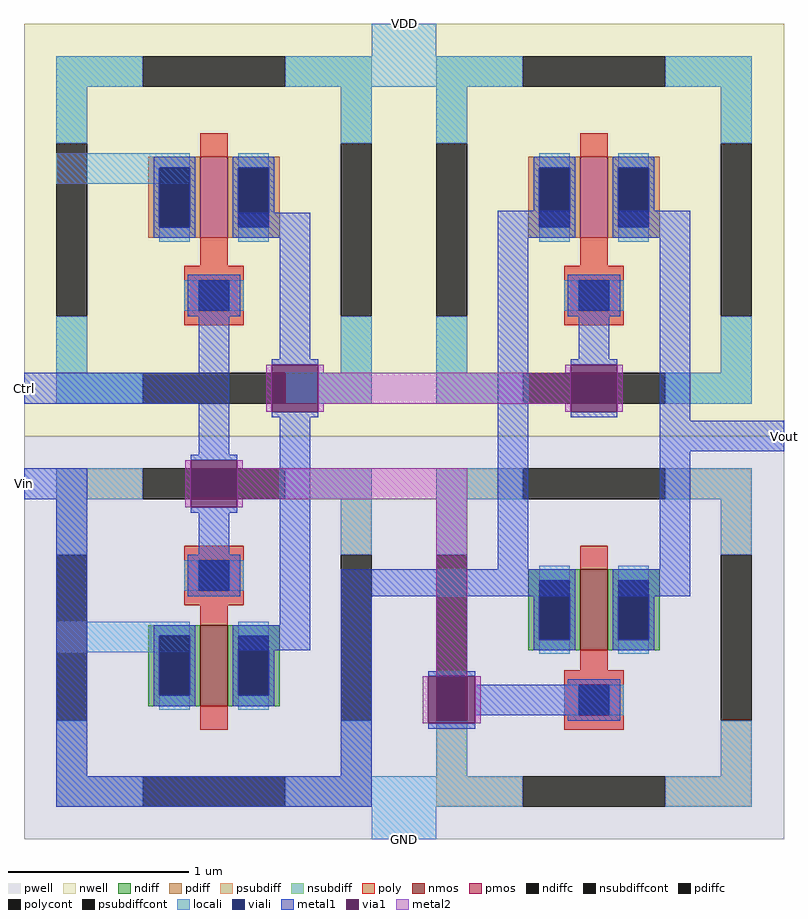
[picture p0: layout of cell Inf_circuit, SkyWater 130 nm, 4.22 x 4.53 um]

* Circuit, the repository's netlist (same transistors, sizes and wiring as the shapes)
** sch_path: /home/ricardo/RATT_repos/Proyectos_xschem/SNN/Inf_circuit.sch
**.subckt Inf_circuit GND VDD Vout Ctrl Vin
*.iopin GND
*.iopin VDD
*.opin Vout
*.ipin Ctrl
*.ipin Vin
XM1 Vout net1 Vin VDD sky130_fd_pr__pfet_01v8 L=0.15 W=0.45 nf=1 ad='int((nf+1)/2) * W/nf * 0.29' as='int((nf+2)/2) * W/nf * 0.29'
+ pd='2*int((nf+1)/2) * (W/nf + 0.29)' ps='2*int((nf+2)/2) * (W/nf + 0.29)' nrd='0.29 / W' nrs='0.29 / W'
+ sa=0 sb=0 sd=0 mult=1 m=1
XM2 Vin Ctrl Vout GND sky130_fd_pr__nfet_01v8 L=0.15 W=0.45 nf=1 ad='int((nf+1)/2) * W/nf * 0.29' as='int((nf+2)/2) * W/nf * 0.29'
+ pd='2*int((nf+1)/2) * (W/nf + 0.29)' ps='2*int((nf+2)/2) * (W/nf + 0.29)' nrd='0.29 / W' nrs='0.29 / W'
+ sa=0 sb=0 sd=0 mult=1 m=1
XM3 net1 Ctrl VDD VDD sky130_fd_pr__pfet_01v8 L=0.15 W=0.45 nf=1 ad='int((nf+1)/2) * W/nf * 0.29' as='int((nf+2)/2) * W/nf * 0.29'
+ pd='2*int((nf+1)/2) * (W/nf + 0.29)' ps='2*int((nf+2)/2) * (W/nf + 0.29)' nrd='0.29 / W' nrs='0.29 / W'
+ sa=0 sb=0 sd=0 mult=1 m=1
XM4 net1 Ctrl GND GND sky130_fd_pr__nfet_01v8 L=0.15 W=0.45 nf=1 ad='int((nf+1)/2) * W/nf * 0.29' as='int((nf+2)/2) * W/nf * 0.29'
+ pd='2*int((nf+1)/2) * (W/nf + 0.29)' ps='2*int((nf+2)/2) * (W/nf + 0.29)' nrd='0.29 / W' nrs='0.29 / W'
+ sa=0 sb=0 sd=0 mult=1 m=1
**.ends
.end

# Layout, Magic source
magic
tech sky130A
magscale 1 2
<< locali >>
rect 134 1178 206 1248
rect -216 1070 -68 1104
rect -216 550 -68 584
rect 134 342 206 412
<< metal1 >>
rect -14 1010 66 1038
rect -58 860 -24 963
rect 32 875 66 1010
rect 274 1010 354 1040
rect 408 1010 488 1040
rect -252 826 -24 860
rect -58 769 -24 826
rect 23 869 75 875
rect 23 811 75 817
rect -67 763 -15 769
rect -252 720 -182 754
rect -216 412 -182 720
rect -67 705 -15 711
rect -58 618 -24 705
rect 32 580 66 811
rect 274 642 308 1010
rect 364 875 398 963
rect 355 869 407 875
rect 355 811 407 817
rect 454 807 488 1010
rect 454 773 592 807
rect 454 642 488 773
rect -14 552 66 580
rect 100 612 354 642
rect 408 612 488 642
rect 100 412 134 612
rect 197 523 249 529
rect 249 480 398 514
rect 197 465 249 471
rect -216 378 134 412
<< via1 >>
rect 23 817 75 869
rect -67 711 -15 763
rect 355 817 407 869
rect 197 471 249 523
<< metal2 >>
rect 17 817 23 869
rect 75 860 81 869
rect 349 860 355 869
rect 75 826 355 860
rect 75 817 81 826
rect 349 817 355 826
rect 407 817 413 869
rect -73 711 -67 763
rect -15 754 -9 763
rect -15 720 240 754
rect -15 711 -9 720
rect 206 523 240 720
rect 191 471 197 523
rect 249 471 255 523
use sky130_fd_pr__pfet_01v8_2779BZ  XM1
transform 1 0 -41 0 1 1019
box -211 -229 211 229
use sky130_fd_pr__nfet_01v8_DR7ETE  XM2
transform 1 0 -41 0 1 566
box -211 -224 211 224
use sky130_fd_pr__pfet_01v8_2779BZ  XM3
transform 1 0 381 0 1 1019
box -211 -229 211 229
use sky130_fd_pr__nfet_01v8_HVESAE  XM4
transform 1 0 381 0 1 566
box -211 -224 211 224
<< labels >>
flabel locali s 134 1248 206 1248 0 FreeSans 480 0 0 0 VDD
port 12 nsew
flabel locali s 134 342 206 342 0 FreeSans 480 0 0 0 GND
port 13 nsew
flabel metal1 s 592 773 592 807 0 FreeSans 480 0 0 0 Vout
port 14 nsew
flabel metal1 s -252 720 -252 754 0 FreeSans 480 0 0 0 Vin
port 15 nsew
flabel metal1 s -252 826 -252 860 0 FreeSans 480 0 0 0 Ctrl
port 16 nsew
<< end >>

# cell sky130_fd_pr__pfet_01v8_2779BZ: kit device sky130_fd_pr__pfet_01v8, w 0.45 l 0.15 m 1 nf 1 diffcov 100 polycov 100 guard 1 glc 1 grc 1 gtc 1 gbc 1 tbcov 100 rlcov 100 topc 0 botc 1 poverlap 0 doverlap 1 lmin 0.15 wmin 0.42 compatible {sky130_fd_pr__pfet_01v8 sky130_fd_pr__pfet_01v8_lvt sky130_fd_pr__pfet_01v8_hvt sky130_fd_pr__pfet_g5v0d10v5} full_metal 1 viasrc 100 viadrn 100 viagate 100 viagb 0 viagr 0 viagl 0 viagt 0

# cell sky130_fd_pr__nfet_01v8_DR7ETE: kit device sky130_fd_pr__nfet_01v8, w 0.45 l 0.15 m 1 nf 1 diffcov 100 polycov 100 guard 1 glc 1 grc 1 gtc 1 gbc 1 tbcov 100 rlcov 100 topc 1 botc 0 poverlap 0 doverlap 1 lmin 0.15 wmin 0.42 compatible {sky130_fd_pr__nfet_01v8 sky130_fd_pr__nfet_01v8_lvt sky130_fd_bs_flash__special_sonosfet_star sky130_fd_pr__nfet_g5v0d10v5 sky130_fd_pr__nfet_05v0_nvt sky130_fd_pr__nfet_03v3_nvt} full_metal 1 viasrc 100 viadrn 100 viagate 100 viagb 0 viagr 0 viagl 0 viagt 0

# cell sky130_fd_pr__nfet_01v8_HVESAE: kit device sky130_fd_pr__nfet_01v8, w 0.45 l 0.15 m 1 nf 1 diffcov 100 polycov 100 guard 1 glc 1 grc 1 gtc 1 gbc 1 tbcov 100 rlcov 100 topc 0 botc 1 poverlap 0 doverlap 1 lmin 0.15 wmin 0.42 compatible {sky130_fd_pr__nfet_01v8 sky130_fd_pr__nfet_01v8_lvt sky130_fd_bs_flash__special_sonosfet_star sky130_fd_pr__nfet_g5v0d10v5 sky130_fd_pr__nfet_05v0_nvt sky130_fd_pr__nfet_03v3_nvt} full_metal 1 viasrc 100 viadrn 100 viagate 100 viagb 0 viagr 0 viagl 0 viagt 0
